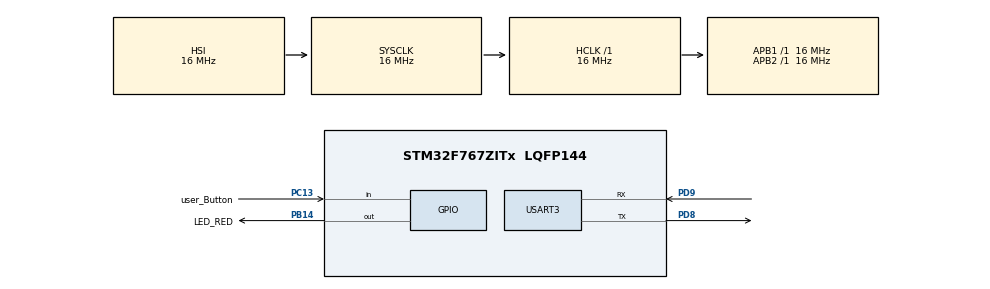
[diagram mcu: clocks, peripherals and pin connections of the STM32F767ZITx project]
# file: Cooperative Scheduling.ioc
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Mcu.Family=STM32F7
Mcu.Name=STM32F767ZITx
Mcu.Package=LQFP144
NVIC.PriorityGroup=NVIC_PRIORITYGROUP_4
PB14.GPIO_Label=LED_RED
PB14.PinState=GPIO_PIN_SET
PB14.Signal=GPIO_Output
PC13.GPIO_Label=user_Button
PC13.Signal=GPIO_Input
PD8.Mode=Asynchronous
PD8.Signal=USART3_TX
PD9.Mode=Asynchronous
PD9.Signal=USART3_RX
ProjectManager.HeapSize=0x200
ProjectManager.StackSize=0x400
ProjectManager.TargetToolchain=STM32CubeIDE
RCC.48MHZClocksFreq_Value=24000000
RCC.AHBFreq_Value=16000000
RCC.APB1Freq_Value=16000000
RCC.APB1TimFreq_Value=16000000
RCC.APB2Freq_Value=16000000
RCC.APB2TimFreq_Value=16000000
RCC.CortexFreq_Value=16000000
RCC.HCLKFreq_Value=16000000
RCC.HSE_VALUE=8000000
RCC.HSI_VALUE=16000000
RCC.PLLM=4
RCC.PLLMUL=RCC_PLL_MUL9
RCC.PLLN=96
RCC.PLLQ=4
RCC.PRESCALERUSB=RCC_USBCLKSOURCE_PLL_DIV1_5
RCC.SYSCLKFreq_VALUE=16000000
RCC.SYSCLKSourceVirtual=RCC_SYSCLKSOURCE_PLLCLK
RCC.USBFreq_Value=96000000
RCC.VCOOutputFreq_Value=384000000
TIM2.Channel-Output\ Compare1\ No\ Output=TIM_CHANNEL_1
TIM2.Period=65535
TIM2.Prescaler=1
TIM3.Channel-Output\ Compare1\ No\ Output=TIM_CHANNEL_1
USART3.VirtualMode-Asynchronous=VM_ASYNC
VP_TIM2_VS_ClockSourceINT.Mode=Internal
VP_TIM2_VS_ClockSourceITR.Mode=TriggerSource_ITR0
VP_TIM2_VS_ControllerModeTrigger.Mode=Trigger Mode
VP_TIM2_VS_no_output1.Mode=Output Compare1 No Output
VP_TIM3_VS_ClockSourceINT.Mode=Internal
VP_TIM3_VS_ClockSourceITR.Mode=TriggerSource_ITR0
VP_TIM3_VS_ControllerModeTrigger.Mode=Trigger Mode
VP_TIM3_VS_no_output1.Mode=Output Compare1 No Output
board=NUCLEO-F767ZI

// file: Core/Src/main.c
/* USER CODE BEGIN Header */
/**
  ******************************************************************************
  * @file           : main.c
  * @brief          : Main program body
  ******************************************************************************
  * @attention
  *
  * Copyright (c) 2025 STMicroelectronics.
  * All rights reserved.
  *
  * This software is licensed under terms that can be found in the LICENSE file
  * in the root directory of this software component.
  * If no LICENSE file comes with this software, it is provided AS-IS.
  *
  ******************************************************************************
  */
/* USER CODE END Header */
#include "main.h"
#include <string.h>
#include <stdio.h>

/* USER CODE BEGIN PD */
#define LED_TOGGLE_INTERVAL       500   // Toggle LED every 500 ms
#define BUTTON_READ_INTERVAL      3000  // Read button every 3000 ms
#define UART_TRANSMIT_INTERVAL    1000  // Transmit UART message every 1000 ms
/* USER CODE END PD */

TIM_HandleTypeDef htim2;
TIM_HandleTypeDef htim3;

UART_HandleTypeDef huart3;

/* USER CODE BEGIN PV */
volatile uint32_t global_counter = 0;     // Counter incremented every 1 ms
volatile uint32_t button_press_count = 0;  // Count of button presses
uint32_t last_led_toggle_time = 0;        // Last time LED was toggled
uint32_t last_button_read_time = 0;       // Last time button state was read
uint32_t last_uart_send_time = 0;         // Last time UART message was sent
uint8_t last_button_state = 0;            // Last button state
char uart_buffer[64];                      // Buffer for UART message
/* USER CODE END PV */

void SystemClock_Config(void);
static void MX_GPIO_Init(void);
static void MX_USART3_UART_Init(void);
static void MX_TIM2_Init(void);
static void MX_TIM3_Init(void);
/* USER CODE BEGIN PFP */
void ToggleLEDTask(void);
void ReadButtonTask(void);
void UARTTransmitTask(void);
/* USER CODE END PFP */

/* USER CODE BEGIN 0 */

/**
  * @brief  Timer interrupt callback
  * @param  htim: Timer handle
  * @retval None
  */
void HAL_TIM_PeriodElapsedCallback(TIM_HandleTypeDef *htim)
{
  if(htim->Instance == TIM2) {
    global_counter++; // Increment global counter every 1 ms
  }
}

/**
  * @brief  Toggle LED task - runs every 500 ms
  * @param  None
  * @retval None
  */
void ToggleLEDTask(void)
{
  if(global_counter - last_led_toggle_time >= LED_TOGGLE_INTERVAL) {
    HAL_GPIO_TogglePin(LED_RED_GPIO_Port, LED_RED_Pin);
    last_led_toggle_time = global_counter;
  }
}

/**
  * @brief  Read button task - detects button presses
  * @param  None
  * @retval None
  */
void ReadButtonTask(void)
{
  // Check button state (detect button press on rising edge)
  uint8_t current_button_state = HAL_GPIO_ReadPin(user_Button_GPIO_Port, user_Button_Pin);

  // Detect button press (rising edge)
  if(current_button_state == GPIO_PIN_SET && last_button_state == GPIO_PIN_RESET) {
    button_press_count++;
  }
  last_button_state = current_button_state;

  // Check if 3000 ms have passed
  if(global_counter - last_button_read_time >= BUTTON_READ_INTERVAL) {
    last_button_read_time = global_counter;
    // Reset count is handled in UART task
  }
}

/**
  * @brief  UART transmit task - reports button presses every 1000 ms
  * @param  None
  * @retval None
  */
void UARTTransmitTask(void)
{
  if(global_counter - last_uart_send_time >= UART_TRANSMIT_INTERVAL) {
    // Format UART message with button press count
    sprintf(uart_buffer, "Button pressed %lu times in the last 3000 ms\r\n", button_press_count);

    // Transmit the message
    HAL_UART_Transmit(&huart3, (uint8_t*)uart_buffer, strlen(uart_buffer), 100);

    last_uart_send_time = global_counter;

    // Reset button press count if the button read cycle has completed
    if(global_counter - last_button_read_time >= BUTTON_READ_INTERVAL) {
      button_press_count = 0;
    }
  }
}

/* USER CODE END 0 */

int main(void)
{

  /* MCU Configuration--------------------------------------------------------*/

  /* Reset of all peripherals, Initializes the Flash interface and the Systick. */
  HAL_Init();

  /* Configure the system clock */
  SystemClock_Config();

  /* Initialize all configured peripherals */
  MX_GPIO_Init();
  MX_USART3_UART_Init();
  MX_TIM2_Init();
  MX_TIM3_Init();
  /* USER CODE BEGIN 2 */

  // Start timer with interrupt
  HAL_TIM_Base_Start_IT(&htim2);

  // Initialize the last task execution times
  last_led_toggle_time = global_counter;
  last_button_read_time = global_counter;
  last_uart_send_time = global_counter;

  /* USER CODE END 2 */

  /* Infinite loop */
  while (1)
  {

    /* USER CODE BEGIN 3 */

    // Execute tasks
    ToggleLEDTask();    // Check if it's time to toggle LED
    ReadButtonTask();   // Check button state
    UARTTransmitTask(); // Check if it's time to send UART message

  }
  /* USER CODE END 3 */
}

void SystemClock_Config(void)
{
  RCC_OscInitTypeDef RCC_OscInitStruct = {0};
  RCC_ClkInitTypeDef RCC_ClkInitStruct = {0};

  /** Configure the main internal regulator output voltage
  */
  __HAL_RCC_PWR_CLK_ENABLE();
  __HAL_PWR_VOLTAGESCALING_CONFIG(PWR_REGULATOR_VOLTAGE_SCALE3);

  /** Initializes the RCC Oscillators according to the specified parameters
  * in the RCC_OscInitTypeDef structure.
  */
  RCC_OscInitStruct.OscillatorType = RCC_OSCILLATORTYPE_HSI;
  RCC_OscInitStruct.HSIState = RCC_HSI_ON;
  RCC_OscInitStruct.HSICalibrationValue = RCC_HSICALIBRATION_DEFAULT;
  RCC_OscInitStruct.PLL.PLLState = RCC_PLL_NONE;
  if (HAL_RCC_OscConfig(&RCC_OscInitStruct) != HAL_OK)
  {
    Error_Handler();
  }

  /** Initializes the CPU, AHB and APB buses clocks
  */
  RCC_ClkInitStruct.ClockType = RCC_CLOCKTYPE_HCLK|RCC_CLOCKTYPE_SYSCLK
                              |RCC_CLOCKTYPE_PCLK1|RCC_CLOCKTYPE_PCLK2;
  RCC_ClkInitStruct.SYSCLKSource = RCC_SYSCLKSOURCE_HSI;
  RCC_ClkInitStruct.AHBCLKDivider = RCC_SYSCLK_DIV1;
  RCC_ClkInitStruct.APB1CLKDivider = RCC_HCLK_DIV1;
  RCC_ClkInitStruct.APB2CLKDivider = RCC_HCLK_DIV1;

  if (HAL_RCC_ClockConfig(&RCC_ClkInitStruct, FLASH_LATENCY_0) != HAL_OK)
  {
    Error_Handler();
  }
}

static void MX_TIM2_Init(void)
{

  TIM_ClockConfigTypeDef sClockSourceConfig = {0};
  TIM_MasterConfigTypeDef sMasterConfig = {0};

  htim2.Instance = TIM2;
  htim2.Init.Prescaler = 16000-1;  // Para un reloj de 16 MHz para obtener 1 kHz
  htim2.Init.CounterMode = TIM_COUNTERMODE_UP;
  htim2.Init.Period = 1-1;         // Período de 1 ms
  htim2.Init.ClockDivision = TIM_CLOCKDIVISION_DIV1;
  htim2.Init.AutoReloadPreload = TIM_AUTORELOAD_PRELOAD_ENABLE;
  if (HAL_TIM_Base_Init(&htim2) != HAL_OK)
  {
    Error_Handler();
  }
  sClockSourceConfig.ClockSource = TIM_CLOCKSOURCE_INTERNAL;
  if (HAL_TIM_ConfigClockSource(&htim2, &sClockSourceConfig) != HAL_OK)
  {
    Error_Handler();
  }
  sMasterConfig.MasterOutputTrigger = TIM_TRGO_RESET;
  sMasterConfig.MasterSlaveMode = TIM_MASTERSLAVEMODE_DISABLE;
  if (HAL_TIMEx_MasterConfigSynchronization(&htim2, &sMasterConfig) != HAL_OK)
  {
    Error_Handler();
  }

}

static void MX_TIM3_Init(void)
{

  TIM_ClockConfigTypeDef sClockSourceConfig = {0};
  TIM_MasterConfigTypeDef sMasterConfig = {0};

  htim3.Instance = TIM3;
  htim3.Init.Prescaler = 0;
  htim3.Init.CounterMode = TIM_COUNTERMODE_UP;
  htim3.Init.Period = 65535;
  htim3.Init.ClockDivision = TIM_CLOCKDIVISION_DIV1;
  htim3.Init.AutoReloadPreload = TIM_AUTORELOAD_PRELOAD_DISABLE;
  if (HAL_TIM_Base_Init(&htim3) != HAL_OK)
  {
    Error_Handler();
  }
  sClockSourceConfig.ClockSource = TIM_CLOCKSOURCE_INTERNAL;
  if (HAL_TIM_ConfigClockSource(&htim3, &sClockSourceConfig) != HAL_OK)
  {
    Error_Handler();
  }
  sMasterConfig.MasterOutputTrigger = TIM_TRGO_RESET;
  sMasterConfig.MasterSlaveMode = TIM_MASTERSLAVEMODE_DISABLE;
  if (HAL_TIMEx_MasterConfigSynchronization(&htim3, &sMasterConfig) != HAL_OK)
  {
    Error_Handler();
  }

}

static void MX_USART3_UART_Init(void)
{

  huart3.Instance = USART3;
  huart3.Init.BaudRate = 115200;
  huart3.Init.WordLength = UART_WORDLENGTH_8B;
  huart3.Init.StopBits = UART_STOPBITS_1;
  huart3.Init.Parity = UART_PARITY_NONE;
  huart3.Init.Mode = UART_MODE_TX_RX;
  huart3.Init.HwFlowCtl = UART_HWCONTROL_NONE;
  huart3.Init.OverSampling = UART_OVERSAMPLING_16;
  huart3.Init.OneBitSampling = UART_ONE_BIT_SAMPLE_DISABLE;
  huart3.AdvancedInit.AdvFeatureInit = UART_ADVFEATURE_NO_INIT;
  if (HAL_UART_Init(&huart3) != HAL_OK)
  {
    Error_Handler();
  }

}

static void MX_GPIO_Init(void)
{
  GPIO_InitTypeDef GPIO_InitStruct = {0};

  /* GPIO Ports Clock Enable */
  __HAL_RCC_GPIOC_CLK_ENABLE();
  __HAL_RCC_GPIOB_CLK_ENABLE();
  __HAL_RCC_GPIOD_CLK_ENABLE();

  /*Configure GPIO pin Output Level */
  HAL_GPIO_WritePin(LED_RED_GPIO_Port, LED_RED_Pin, GPIO_PIN_SET);

  /*Configure GPIO pin : user_Button_Pin */
  GPIO_InitStruct.Pin = user_Button_Pin;
  GPIO_InitStruct.Mode = GPIO_MODE_INPUT;
  GPIO_InitStruct.Pull = GPIO_NOPULL;
  HAL_GPIO_Init(user_Button_GPIO_Port, &GPIO_InitStruct);

  /*Configure GPIO pin : LED_RED_Pin */
  GPIO_InitStruct.Pin = LED_RED_Pin;
  GPIO_InitStruct.Mode = GPIO_MODE_OUTPUT_PP;
  GPIO_InitStruct.Pull = GPIO_NOPULL;
  GPIO_InitStruct.Speed = GPIO_SPEED_FREQ_LOW;
  HAL_GPIO_Init(LED_RED_GPIO_Port, &GPIO_InitStruct);

}

void Error_Handler(void)
{
  __disable_irq();
  while (1)
  {
  }
}
